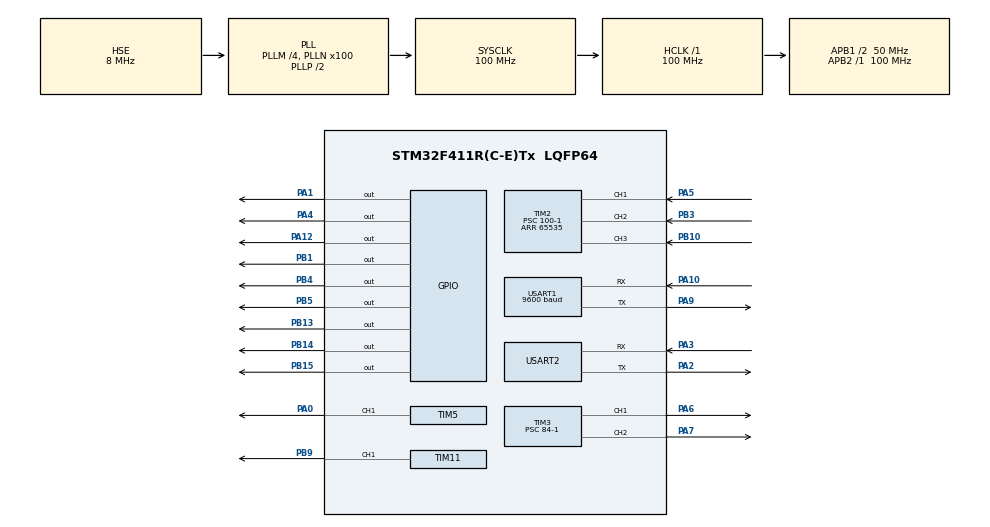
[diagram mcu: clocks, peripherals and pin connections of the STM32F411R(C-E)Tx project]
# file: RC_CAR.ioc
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FREERTOS.Mutexes01=myMutex01,Dynamic,NULL,Available;myMutex02,Dynamic,NULL,Available
FREERTOS.Tasks01=defaultTask,24,128,StartDefaultTask,Default,NULL,Dynamic,NULL,NULL;sensorTask,40,512,StartTask02,Default,NULL,Dynamic,NULL,NULL;moter_Task,8,128,StartTask03,Default,NULL,Dynamic,NULL,NULL
FREERTOS.configUSE_NEWLIB_REENTRANT=1
Mcu.Family=STM32F4
Mcu.Name=STM32F411R(C-E)Tx
Mcu.Package=LQFP64
NVIC.PriorityGroup=NVIC_PRIORITYGROUP_4
NVIC.TIM1_BRK_TIM9_IRQn=true\:15\:0\:false\:false\:true\:false\:false\:true\:true
NVIC.TIM1_TRG_COM_TIM11_IRQn=true\:5\:0\:false\:false\:true\:true\:true\:true\:true
NVIC.TIM2_IRQn=true\:5\:0\:true\:false\:true\:true\:true\:true\:true
NVIC.TIM3_IRQn=true\:5\:0\:true\:false\:true\:true\:true\:true\:true
NVIC.TIM5_IRQn=true\:5\:0\:false\:false\:true\:true\:true\:true\:true
NVIC.TimeBase=TIM1_BRK_TIM9_IRQn
NVIC.TimeBaseIP=TIM9
NVIC.USART1_IRQn=true\:5\:0\:true\:false\:true\:true\:true\:true\:true
NVIC.USART2_IRQn=true\:5\:0\:true\:false\:true\:true\:true\:true\:true
PA0-WKUP.Signal=S_TIM5_CH1
PA1.Signal=GPIO_Output
PA10.Mode=Asynchronous
PA10.Signal=USART1_RX
PA12.GPIO_Speed=GPIO_SPEED_FREQ_HIGH
PA12.Signal=GPIO_Output
PA13.Mode=Serial_Wire
PA13.Signal=SYS_JTMS-SWDIO
PA14.Mode=Serial_Wire
PA14.Signal=SYS_JTCK-SWCLK
PA2.Mode=Asynchronous
PA2.Signal=USART2_TX
PA3.Mode=Asynchronous
PA3.Signal=USART2_RX
PA4.Signal=GPIO_Output
PA5.GPIO_Speed=GPIO_SPEED_FREQ_LOW
PA5.Signal=S_TIM2_CH1_ETR
PA6.Signal=S_TIM3_CH1
PA7.Signal=S_TIM3_CH2
PA9.Mode=Asynchronous
PA9.Signal=USART1_TX
PB1.Signal=GPIO_Output
PB10.Signal=S_TIM2_CH3
PB13.Signal=GPIO_Output
PB14.Signal=GPIO_Output
PB15.Signal=GPIO_Output
PB3.GPIO_Speed=GPIO_SPEED_FREQ_LOW
PB3.Signal=S_TIM2_CH2
PB4.Signal=GPIO_Output
PB5.Signal=GPIO_Output
PB9.Signal=S_TIM11_CH1
PH0\ -\ OSC_IN.Mode=HSE-External-Oscillator
PH0\ -\ OSC_IN.Signal=RCC_OSC_IN
PH1\ -\ OSC_OUT.Mode=HSE-External-Oscillator
PH1\ -\ OSC_OUT.Signal=RCC_OSC_OUT
ProjectManager.HeapSize=0x200
ProjectManager.StackSize=0x400
ProjectManager.TargetToolchain=STM32CubeIDE
RCC.48MHZClocksFreq_Value=50000000
RCC.AHBFreq_Value=100000000
RCC.APB1CLKDivider=RCC_HCLK_DIV2
RCC.APB1Freq_Value=50000000
RCC.APB1TimFreq_Value=100000000
RCC.APB2Freq_Value=100000000
RCC.APB2TimFreq_Value=100000000
RCC.CortexFreq_Value=100000000
RCC.HCLKFreq_Value=100000000
RCC.HSE_VALUE=8000000
RCC.HSI_VALUE=16000000
RCC.LSE_VALUE=32768
RCC.PLLM=4
RCC.PLLN=100
RCC.PLLSourceVirtual=RCC_PLLSOURCE_HSE
RCC.SYSCLKFreq_VALUE=100000000
RCC.SYSCLKSource=RCC_SYSCLKSOURCE_PLLCLK
RCC.VCOOutputFreq_Value=200000000
SH.S_TIM11_CH1.0=TIM11_CH1,PWM Generation1 CH1
SH.S_TIM2_CH1_ETR.0=TIM2_CH1,Input_Capture1_from_TI1
SH.S_TIM2_CH2.0=TIM2_CH2,Input_Capture2_from_TI2
SH.S_TIM2_CH3.0=TIM2_CH3,Input_Capture3_from_TI3
SH.S_TIM3_CH1.0=TIM3_CH1,PWM Generation1 CH1
SH.S_TIM3_CH2.0=TIM3_CH2,PWM Generation2 CH2
SH.S_TIM5_CH1.0=TIM5_CH1,PWM Generation1 CH1
TIM10.Prescaler=100-1
TIM11.Channel=TIM_CHANNEL_1
TIM11.Period=5000-1
TIM11.Prescaler=8400-1
TIM2.Channel-Input_Capture1_from_TI1=TIM_CHANNEL_1
TIM2.Channel-Input_Capture2_from_TI2=TIM_CHANNEL_2
TIM2.Channel-Input_Capture3_from_TI3=TIM_CHANNEL_3
TIM2.Period=65535
TIM2.Prescaler=100-1
TIM3.Channel-PWM\ Generation1\ CH1=TIM_CHANNEL_1
TIM3.Channel-PWM\ Generation2\ CH2=TIM_CHANNEL_2
TIM3.Period=100-1
TIM3.Prescaler=84-1
TIM5.Channel-PWM\ Generation1\ CH1=TIM_CHANNEL_1
TIM5.Period=1000-1
TIM5.Prescaler=2000-1
TIM5.Pulse-PWM\ Generation1\ CH1=500
USART1.BaudRate=9600
USART1.VirtualMode=VM_ASYNC
USART2.VirtualMode=VM_ASYNC
VP_FREERTOS_VS_CMSIS_V2.Mode=CMSIS_V2
VP_SYS_VS_tim9.Mode=TIM9
VP_TIM10_VS_ClockSourceINT.Mode=Enable_Timer
VP_TIM11_VS_ClockSourceINT.Mode=Enable_Timer
VP_TIM2_VS_ClockSourceINT.Mode=Internal
VP_TIM3_VS_ClockSourceINT.Mode=Internal
VP_TIM5_VS_ClockSourceINT.Mode=Internal
board=custom

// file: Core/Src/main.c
/* USER CODE BEGIN Header */
/**
 ******************************************************************************
 * @file           : main.c
 * @brief          : Main program body
 ******************************************************************************
 * @attention
 *
 * Copyright (c) 2025 STMicroelectronics.
 * All rights reserved.
 *
 * This software is licensed under terms that can be found in the LICENSE file
 * in the root directory of this software component.
 * If no LICENSE file comes with this software, it is provided AS-IS.
 *
 ******************************************************************************
 */
/* USER CODE END Header */
#include "main.h"
#include "cmsis_os.h"
#include "tim.h"
#include "usart.h"
#include "gpio.h"

/* USER CODE BEGIN Includes */
#include "RC_moter.h"
#include "uart_bluetooth.h"
#include "buzzer.h"
/* USER CODE END Includes */

/* USER CODE BEGIN PV */

uint8_t rxData = 0;
uint8_t save_rxData = 0;

uint8_t buzzer_Check = 0;

//led 깜박이 변수
uint8_t led_left = 0;
uint8_t led_right = 0;
uint8_t led_all = 0;

//uart1 블루투스 호출 확인용변수
uint8_t uart_call = 0;

/* USER CODE END PV */

void SystemClock_Config(void);
void MX_FREERTOS_Init(void);
/* USER CODE BEGIN PFP */

void HAL_UART_RxCpltCallback(UART_HandleTypeDef *huart)
{

	HAL_UART_Receive_IT(&huart1, &rxData, sizeof(rxData));

	//블루투스 연결된 uart라면
	if(huart->Instance==USART1)
	{
		if(save_rxData != rxData)
		{

			uart_bluetooth_call();
			uart_call = 1;
			save_rxData = rxData;

		}
	}

}

/* USER CODE END PFP */

int main(void)
{

  /* MCU Configuration--------------------------------------------------------*/

  /* Reset of all peripherals, Initializes the Flash interface and the Systick. */
  HAL_Init();

  /* Configure the system clock */
  SystemClock_Config();

  /* Initialize all configured peripherals */
  MX_GPIO_Init();
  MX_USART2_UART_Init();
  MX_TIM3_Init();
  MX_USART1_UART_Init();
  MX_TIM5_Init();
  MX_TIM11_Init();
  MX_TIM2_Init();
  MX_TIM10_Init();
  /* USER CODE BEGIN 2 */

	//모터 초기 설정
	Moter_Init();

	//보내는 인터럽트 활성화
	HAL_UART_Receive_IT(&huart1, &rxData, sizeof(rxData));

	//받는 인터럽트 활성화
	HAL_UART_Receive_IT(&huart2, &rxData, sizeof(rxData));

	//부저
	HAL_TIM_PWM_Start(&htim5, TIM_CHANNEL_1);
	Stop_Buzzer();

	//딜레이 계산용 11번 타이머 활성화(시스템 딜레이 방지용 타이머)
	HAL_TIM_PWM_Start(&htim11, TIM_CHANNEL_1);

	//초음파
	//32bit 타이머를 16bit(65535)로 스케일링해서 사용
	HAL_TIM_IC_Start_IT(&htim2, TIM_CHANNEL_1);//울트라소닉용
	HAL_TIM_IC_Start_IT(&htim2, TIM_CHANNEL_2);//울트라소닉용
	HAL_TIM_IC_Start_IT(&htim2, TIM_CHANNEL_3);//울트라소닉용

  /* USER CODE END 2 */

  /* Init scheduler */
  osKernelInitialize();

  /* Call init function for freertos objects (in cmsis_os2.c) */
  MX_FREERTOS_Init();

  /* Start scheduler */
  osKernelStart();

  /* We should never get here as control is now taken by the scheduler */

  /* Infinite loop */
  /* USER CODE BEGIN WHILE */
	while (1)
	{

		//	  //깜박이를 켰다면
		//	      if(led_all==1||led_left==1||led_right==1)
		//	      {
		//	        Start_Blinker();
		//	      }
		//	      else
		//	      {
		//	        Stop_Blinker();
		//	      }
		//
		//
		//	      //클락션을 울렸다면
		//	      if(buzzer_Check==1)
		//	      {
		//	        Start_Buzzer();
		//	      }
		//	      else
		//	      {
		//	        Stop_Buzzer();
		//	      }
		//

    /* USER CODE END WHILE */

	}
}

void SystemClock_Config(void)
{
  RCC_OscInitTypeDef RCC_OscInitStruct = {0};
  RCC_ClkInitTypeDef RCC_ClkInitStruct = {0};

  /** Configure the main internal regulator output voltage
  */
  __HAL_RCC_PWR_CLK_ENABLE();
  __HAL_PWR_VOLTAGESCALING_CONFIG(PWR_REGULATOR_VOLTAGE_SCALE1);

  /** Initializes the RCC Oscillators according to the specified parameters
  * in the RCC_OscInitTypeDef structure.
  */
  RCC_OscInitStruct.OscillatorType = RCC_OSCILLATORTYPE_HSE;
  RCC_OscInitStruct.HSEState = RCC_HSE_ON;
  RCC_OscInitStruct.PLL.PLLState = RCC_PLL_ON;
  RCC_OscInitStruct.PLL.PLLSource = RCC_PLLSOURCE_HSE;
  RCC_OscInitStruct.PLL.PLLM = 4;
  RCC_OscInitStruct.PLL.PLLN = 100;
  RCC_OscInitStruct.PLL.PLLP = RCC_PLLP_DIV2;
  RCC_OscInitStruct.PLL.PLLQ = 4;
  if (HAL_RCC_OscConfig(&RCC_OscInitStruct) != HAL_OK)
  {
    Error_Handler();
  }

  /** Initializes the CPU, AHB and APB buses clocks
  */
  RCC_ClkInitStruct.ClockType = RCC_CLOCKTYPE_HCLK|RCC_CLOCKTYPE_SYSCLK
                              |RCC_CLOCKTYPE_PCLK1|RCC_CLOCKTYPE_PCLK2;
  RCC_ClkInitStruct.SYSCLKSource = RCC_SYSCLKSOURCE_PLLCLK;
  RCC_ClkInitStruct.AHBCLKDivider = RCC_SYSCLK_DIV1;
  RCC_ClkInitStruct.APB1CLKDivider = RCC_HCLK_DIV2;
  RCC_ClkInitStruct.APB2CLKDivider = RCC_HCLK_DIV1;

  if (HAL_RCC_ClockConfig(&RCC_ClkInitStruct, FLASH_LATENCY_3) != HAL_OK)
  {
    Error_Handler();
  }
}

void HAL_TIM_PeriodElapsedCallback(TIM_HandleTypeDef *htim)
{
  /* USER CODE BEGIN Callback 0 */

	if (htim->Instance == TIM11)
	{

		//클락션 및 후진
		if(buzzer_Check==1)
		{
			Buzzer_Timer_Interrupt();  // 타이머 인터럽트 처리
		}

		//쌍 깝박이
		if(led_all==1)
		{
			LED_All_Timer_Interrupt();
		}

		//왼쪽 깜박이
		if(led_left==1)
		{
			LED_Left_Timer_Interrupt();
		}

		//오른쪽 깜박이
		if(led_right==1)
		{
			LED_Right_Timer_Interrupt();
		}

	}

  /* USER CODE END Callback 0 */
  if (htim->Instance == TIM9) {
    HAL_IncTick();
  }
}

void Error_Handler(void)
{
	__disable_irq();
	while (1)
	{
	}
}

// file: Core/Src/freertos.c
/* USER CODE BEGIN Header */
/**
 ******************************************************************************
 * File Name          : freertos.c
 * Description        : Code for freertos applications
 ******************************************************************************
 * @attention
 *
 * Copyright (c) 2025 STMicroelectronics.
 * All rights reserved.
 *
 * This software is licensed under terms that can be found in the LICENSE file
 * in the root directory of this software component.
 * If no LICENSE file comes with this software, it is provided AS-IS.
 *
 ******************************************************************************
 */
/* USER CODE END Header */

#include "FreeRTOS.h"
#include "task.h"
#include "main.h"
#include "cmsis_os.h"

/* USER CODE BEGIN Includes */
#include "usart.h"
#include <stdio.h>
#include "sensor.h"
#include  "RC_moter.h"

/* USER CODE END Includes */

/* USER CODE BEGIN PM */

//printf 사용하기 위한 코드
#ifdef __GNUC__

#define PUTCHAR_PROTOTYPE int __io_putchar(int ch)
#else
#define PUTCHAR_PROTOTYPE int fputc(int ch, FILE *f)
#endif
PUTCHAR_PROTOTYPE
{
	//uart2번 사용했기 때문에 설정
	HAL_UART_Transmit(&huart2, (uint8_t *)&ch, 1, 0xFFFF);

	return ch;
}

// 초음파 센서 객체 선언 (초기값 0, 각각 GPIO 및 타이머 채널 할당)
HCSR04_Sensor sensor1 = {0, 0, 0, 0, 0, GPIOA, GPIO_PIN_12, TIM_CHANNEL_1};
HCSR04_Sensor sensor2 = {0, 0, 0, 0, 0, GPIOB, GPIO_PIN_5, TIM_CHANNEL_2};
HCSR04_Sensor sensor3 = {0, 0, 0, 0, 0, GPIOB, GPIO_PIN_4, TIM_CHANNEL_3};

//main.c 부저 변수
extern uint8_t buzzer_Check;

//main.c led 깜박이 변수
extern uint8_t led_left;
extern uint8_t led_right;
extern uint8_t led_all;

//자율주행 확인용 트리거 변수
uint8_t auto_drive_mode = 0;

/* USER CODE END PM */

/* Definitions for defaultTask */
osThreadId_t defaultTaskHandle;
const osThreadAttr_t defaultTask_attributes = {
		.name = "defaultTask",
		.stack_size = 128 * 4,
		.priority = (osPriority_t) osPriorityNormal,
};
/* Definitions for sensorTask */
osThreadId_t sensorTaskHandle;
const osThreadAttr_t sensorTask_attributes = {
		.name = "sensorTask",
		.stack_size = 512 * 4,
		.priority = (osPriority_t) osPriorityHigh,
};
/* Definitions for moter_Task */
osThreadId_t moter_TaskHandle;
const osThreadAttr_t moter_Task_attributes = {
		.name = "moter_Task",
		.stack_size = 128 * 4,
		.priority = (osPriority_t) osPriorityLow,
};
/* Definitions for myMutex01 */
osMutexId_t myMutex01Handle;
const osMutexAttr_t myMutex01_attributes = {
		.name = "myMutex01"
};
/* Definitions for myMutex02 */
osMutexId_t myMutex02Handle;
const osMutexAttr_t myMutex02_attributes = {
		.name = "myMutex02"
};

void StartDefaultTask(void *argument);
void StartTask02(void *argument);
void StartTask03(void *argument);

void MX_FREERTOS_Init(void); /* (MISRA C 2004 rule 8.1) */

void MX_FREERTOS_Init(void) {
	/* Create the mutex(es) */
	/* creation of myMutex01 */
	myMutex01Handle = osMutexNew(&myMutex01_attributes);

	/* creation of myMutex02 */
	myMutex02Handle = osMutexNew(&myMutex02_attributes);

	/* Create the thread(s) */
	/* creation of defaultTask */
	defaultTaskHandle = osThreadNew(StartDefaultTask, NULL, &defaultTask_attributes);

	/* creation of sensorTask */
	sensorTaskHandle = osThreadNew(StartTask02, NULL, &sensorTask_attributes);

	/* creation of moter_Task */
	moter_TaskHandle = osThreadNew(StartTask03, NULL, &moter_Task_attributes);

}

void StartDefaultTask(void *argument)
{
	/* USER CODE BEGIN StartDefaultTask */
	/* Infinite loop */
	for(;;)
	{
		//깜박이를 켰다면
		if(led_all==1||led_left==1||led_right==1)
		{
			Start_Blinker();
		}
		else
		{
			Stop_Blinker();
		}

		//클락션을 울렸다면
		if(buzzer_Check==1)
		{
			Start_Buzzer();
		}
		else
		{
			Stop_Buzzer();
		}

		osDelay(10);
	}
	/* USER CODE END StartDefaultTask */
}

void StartTask02(void *argument)
{
	/* USER CODE BEGIN StartTask02 */
	/* Infinite loop */
	for(;;)
	{
		//초음파용 rtos

		//자율주행일 때 초음파 데이터 읽어오기
		if(auto_drive_mode == 1)
		{

			//osMutexAcquire(myMutex01Handle, osWaitForever);

			//왼쪽 초음파
			HCSR04_Read(&sensor3);
			printf("left: %d cm\n",sensor3.distance);

			//중앙 초음파
			HCSR04_Read(&sensor1);
			printf("mid: %d cm\n",sensor1.distance);

			//오른쪽 초음파
			HCSR04_Read(&sensor2);
			printf("right: %d cm\n",sensor2.distance);

			printf("\n");//가독성 용 띄어쓰기
			osDelay(50);

			//osMutexRelease(myMutex01Handle);

		}

		osDelay(50);

	}
	/* USER CODE END StartTask02 */
}

void StartTask03(void *argument)
{
	/* USER CODE BEGIN StartTask03 */
	/* Infinite loop */

	for(;;)
	{
		//모터용 rtos

		//자율주행 모드일 때
		if(auto_drive_mode==1)
		{
			//자율주행 활성화
			Moter_Auto_drive(sensor1.distance, sensor2.distance, sensor3.distance);
		}

		osDelay(30);

	}
	/* USER CODE END StartTask03 */
}
